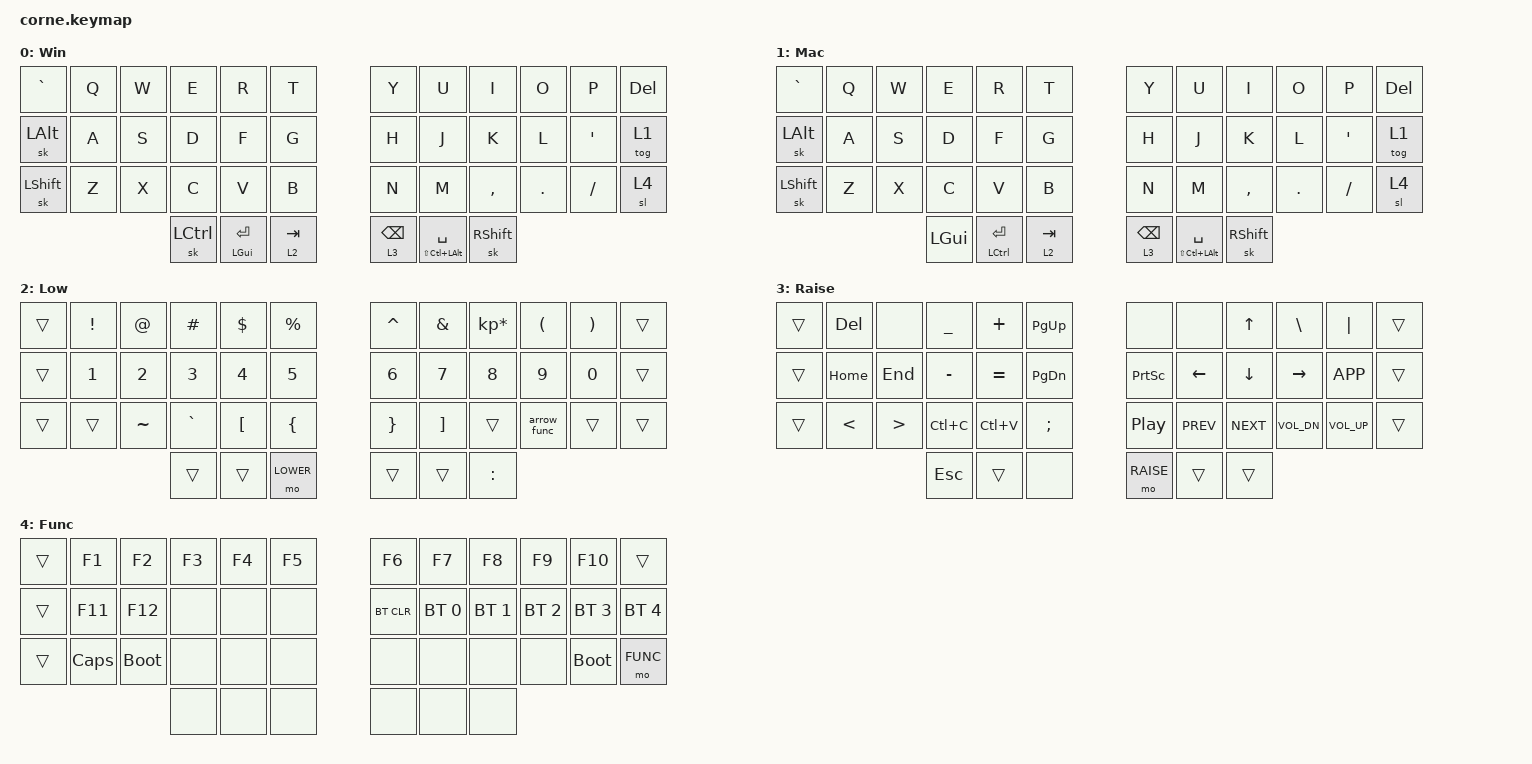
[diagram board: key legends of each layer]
/*
 * Copyright (c) 2020 The ZMK Contributors
 *
 * SPDX-License-Identifier: MIT
 */

#include <behaviors.dtsi>
#include <dt-bindings/zmk/keys.h>
#include <dt-bindings/zmk/bt.h>

#define DEFAULT 0
#define MAC     1
#define LOWER   2
#define RAISE   3
#define FUNC    4


// Meh key
#define MEH LS(LC(LALT))

/ {
        keymap {
                compatible = "zmk,keymap";

                default_layer {
                        display-name="Win";
// -----------------------------------------------------------------------------------------
// |   `  |  Q  |  W  |  E  |  R  |  T  |   |  Y  |  U   |  I  |  O  |  P  | DEL  |
// | LALT |  A  |  S  |  D  |  F  |  G  |   |  H  |  J   |  K  |  L  |  '"  |  TG(MAC)   |
// | SHFT |  Z  |  X  |  C  |  V  |  B  |   |  N  |  M   |  ,  |  .  |  /  | FUNC  |
//                | LCTRL | ENT | LOWER/Tab |     | RAISE/BSPC | SPACE | RSHFT |
                        bindings = <
   &kp GRAVE &kp Q &kp W &kp E &kp R &kp T   &kp Y &kp U  &kp I     &kp O   &kp P    &kp DEL
   &sk LALT  &kp A &kp S &kp D &kp F &kp G   &kp H &kp J  &kp K     &kp L   &kp SQT  &tog 1
   &sk LSHFT &kp Z &kp X &kp C &kp V &kp B   &kp N &kp M  &kp COMMA &kp DOT &kp FSLH &sl 4
        &sk LCTRL  &mt LGUI RET &lt 2 TAB    &lt 3 BSPC &mt MEH SPACE &sk RSHFT
                        >;
                };
                
                mac_layer {
                        display-name="Mac";
// -----------------------------------------------------------------------------------------
// |   `  |  Q  |  W  |  E  |  R  |  T  |   |  Y  |  U   |  I  |  O  |  P  | DEL  |
// | LALT |  A  |  S  |  D  |  F  |  G  |   |  H  |  J   |  K  |  L  |  '"  |  TG(MAC)   |
// | SHFT |  Z  |  X  |  C  |  V  |  B  |   |  N  |  M   |  ,  |  .  |  /  | FUNC  |
//                | LCTRL | ENT | LOWER/Tab |     | RAISE/BSPC | SPACE | RSHFT |
                        bindings = <
   &kp GRAVE &kp Q &kp W &kp E &kp R &kp T   &kp Y &kp U  &kp I     &kp O   &kp P    &kp DEL
   &sk LALT  &kp A &kp S &kp D &kp F &kp G   &kp H &kp J  &kp K     &kp L   &kp SQT  &tog 1
   &sk LSHFT &kp Z &kp X &kp C &kp V &kp B   &kp N &kp M  &kp COMMA &kp DOT &kp FSLH &sl 4
        &kp LGUI  &mt LCTRL RET &lt 2 TAB    &lt 3 BSPC &mt MEH SPACE &sk RSHFT
                        >;
                };
                
                lower_layer {
                        display-name="Low";
// -----------------------------------------------------------------------------------------
// |      |  !  |  @  |  #  |  $  |  %  |   |  ^  |  &  |  *  |  (  |  )  |      |
// |      |  1  |  2  |  3  |  4  |  5  |   |  6  |  7  |  8  |  9  |  0  |      |
// |      |     |  ~  |  `  |  [  |  {  |   |  }  |  ]  |     |  => |     |      |
//                  |     |     | LOWER |   |     |     |  :  |
                        bindings = <
   &trans    &kp EXCL &kp AT    &kp HASH  &kp DLLR &kp PRCNT   &kp CARET &kp AMPS  &kp KP_MULTIPLY &kp LPAR    &kp RPAR &trans
   &trans    &kp N1   &kp N2    &kp N3    &kp N4   &kp N5      &kp N6    &kp N7    &kp N8          &kp N9      &kp N0   &trans
   &trans    &trans   &kp TILDE &kp GRAVE &kp LBKT &kp LBRC    &kp RBRC  &kp RBKT  &trans          &arrow_func &trans   &trans
                                 &trans   &trans   &mo LOWER   &trans    &trans    &kp COLON
                        >;
                };

                raise_layer {
                        display-name="Raise";
// -----------------------------------------------------------------------------------------
// |   |  DEL |     |   _  |   +   | PgUp |    |       |      |  UP  |   \   |  "|" |     |
// |   | HOME | END |   -  |   =   | PgDn |    | PrtSc | LEFT | DOWN | RIGHT | MENU |     |
// |   |   <  |  >  | Copy | Paste |   ;  |    |  ⏯  |  ⏮  |  ⏭  |  🔉  |  🔊  |     |
//                    | ESC |      |      |    | RAISE |     |     |
                        bindings = <
   &trans &kp DEL  &none   &kp UNDER &kp PLUS  &kp PG_UP    &none     &none      &kp UP     &kp BSLH     &kp PIPE     &trans
   &trans &kp HOME &kp END &kp MINUS &kp EQUAL &kp PG_DN    &kp PSCRN &kp LEFT   &kp DOWN   &kp RIGHT    &kp K_APP    &trans
   &trans &kp LT   &kp GT  &kp LC(C) &kp LC(V) &kp SEMI     &kp C_PP  &kp C_PREV &kp C_NEXT &kp C_VOL_DN &kp C_VOL_UP &trans
                    	     &kp ESC &trans    &none        &mo RAISE   &trans    &trans
                        >;
                };
                func_layer {
                        display-name="Func";
// -----------------------------------------------------------------------------------------
// |    | F1   | F2  | F3  | F4  | F5  |    |  F6  | F7  | F8  | F9  | F10  |     |
// |    | F11  | F11 |     |     |     |    | BTCLR| BT1 | BT2 | BT3 | BT4  | BT5 |
// |    | CAPS |     |     |     |     |    |     |     |     |      | RESET|     |
//                   |     |     |     |    |     |     |     |
                        bindings = <
   &trans  &kp F1   &kp F2      &kp F3  &kp F4  &kp F5       &kp F6     &kp F7       &kp F8       &kp F9       &kp F10      &trans
   &trans  &kp F11  &kp F12     &none   &none   &none        &bt BT_CLR &bt BT_SEL 0 &bt BT_SEL 1 &bt BT_SEL 2 &bt BT_SEL 3 &bt BT_SEL 4
   &trans  &kp CAPS &bootloader &none   &none   &none        &none      &none        &none        &none        &bootloader  &mo FUNC
                                &none   &none   &none        &none      &none        &none
                        >;
                };
        };
  macros {
        
        ZMK_MACRO(arrow_func,
                wait-ms = <30>;
                tap-ms = <40>;
                bindings = <&kp EQUAL &kp GT>;
        )
  };
};
